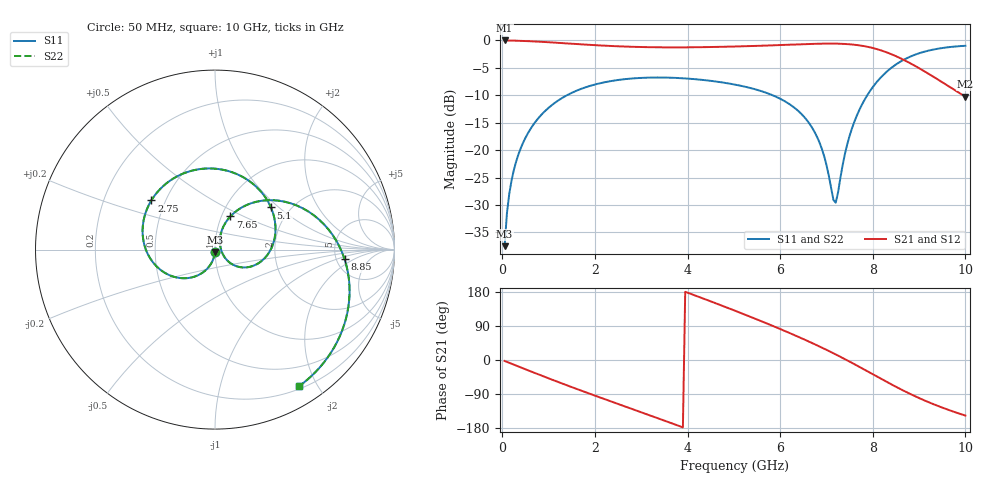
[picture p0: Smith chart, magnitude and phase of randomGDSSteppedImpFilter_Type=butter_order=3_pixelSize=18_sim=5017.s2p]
! freq	dB(S11)	phase(S11)	dB(S12)	phase(S12)
!  dB(S21)	phase(S21)	dB(S22)	phase(S22)
!S-par simulation data
#  GHz  S  DB  R 50
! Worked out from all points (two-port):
!   200 points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, 50 MHz to 10 GHz, reference 50 ohm
!   highest |S21| = 0.00 dB at 50 MHz (marker M1); lowest = -10.3 dB at 10 GHz (marker M2)
!   |S21| within 3 dB of the highest: start of sweep to 8.536 GHz
!   lowest |S11| = -37.5 dB at 50 MHz (marker M3), VSWR 1.03, Z = 49.9 - j1.33 ohm
!   |S11| at or under -10 dB: start of sweep to 1.395 GHz; 5.839 GHz to 7.881 GHz (2.042 GHz wide, 29.8 % of centre)
!   |S22| runs from -37.5 to -1.0 dB; largest |S21 - S12| = 0
!   S11 on the Smith chart (normalised r, x): 50 MHz: 1.00, -0.03; 2.75 GHz: 0.42, +0.29; 5.1 GHz: 1.60, +0.89; 7.65 GHz: 1.10, +0.43; 8.85 GHz: 5.94, -1.33; 10 GHz: 0.23, -1.76
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0.05  -37.51 -92.4  -0.00 -2.5  -0.00 -2.5  -37.51 -92.4
0.1  -31.50 -95.0  -0.01 -5.0  -0.01 -5.0  -31.50 -95.0
0.2  -25.52 -100.2  -0.03 -9.9  -0.03 -9.9  -25.52 -100.2
0.5  -17.76 -115.1  -0.11 -24.5  -0.11 -24.5  -17.76 -115.1
1.15  -11.28 -146.1  -0.40 -55.4  -0.40 -55.4  -11.28 -146.1
1.75  -8.68 -173.6  -0.73 -82.9  -0.73 -82.9  -8.68 -173.6
2.75  -6.97 142.3  -1.15 -127.0  -1.15 -127.0  -6.97 142.3
3.4  -6.76 113.9  -1.25 -155.5  -1.25 -155.5  -6.76 113.8
4.25  -7.13 76.0  -1.23 166.3  -1.23 166.3  -7.13 75.9
5.05  -8.09 39.3  -1.10 128.9  -1.10 128.9  -8.09 39.2
5.1  -8.18 37.0  -1.09 126.5  -1.09 126.5  -8.18 36.9
5.95  -10.42 -3.1  -0.86 84.4  -0.86 84.4  -10.42 -3.2
6.7  -16.05 -36.8  -0.63 44.2  -0.63 44.2  -16.05 -37.0
6.95  -21.10 -41.3  -0.58 29.8  -0.58 29.8  -21.10 -41.4
7.2  -29.59 22.1  -0.58 14.7  -0.58 14.7  -29.64 22.0
7.4  -20.65 69.8  -0.64 2.2  -0.64 2.2  -20.66 69.8
7.65  -13.82 65.2  -0.83 -14.1  -0.83 -14.1  -13.82 65.2
8  -8.51 46.4  -1.38 -37.6  -1.38 -37.6  -8.51 46.4
8.35  -5.34 25.2  -2.33 -61.0  -2.33 -61.0  -5.34 25.1
8.85  -2.80 -4.2  -4.34 -92.0  -4.34 -92.0  -2.81 -4.3
9.35  -1.59 -30.1  -6.83 -118.6  -6.83 -118.6  -1.59 -30.2
10  -0.97 -58.4  -10.27 -146.6  -10.27 -146.6  -0.97 -58.5
